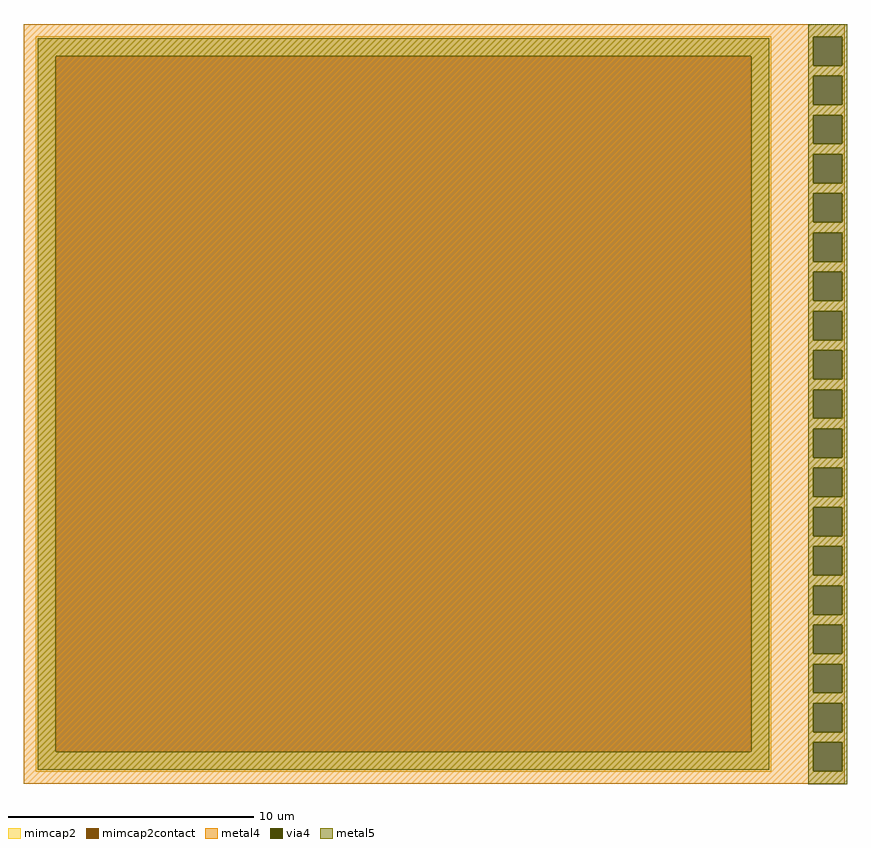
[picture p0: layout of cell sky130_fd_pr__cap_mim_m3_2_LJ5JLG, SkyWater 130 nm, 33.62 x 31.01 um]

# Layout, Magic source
magic
tech sky130A
magscale 1 2
<< metal4 >>
rect -3351 2998 3351 3100
rect -3351 2762 3095 2998
rect 3331 2762 3351 2998
rect -3351 2678 3351 2762
rect -3351 2442 3095 2678
rect 3331 2442 3351 2678
rect -3351 2358 3351 2442
rect -3351 2122 3095 2358
rect 3331 2122 3351 2358
rect -3351 2038 3351 2122
rect -3351 1802 3095 2038
rect 3331 1802 3351 2038
rect -3351 1718 3351 1802
rect -3351 1482 3095 1718
rect 3331 1482 3351 1718
rect -3351 1398 3351 1482
rect -3351 1162 3095 1398
rect 3331 1162 3351 1398
rect -3351 1078 3351 1162
rect -3351 842 3095 1078
rect 3331 842 3351 1078
rect -3351 758 3351 842
rect -3351 522 3095 758
rect 3331 522 3351 758
rect -3351 438 3351 522
rect -3351 202 3095 438
rect 3331 202 3351 438
rect -3351 118 3351 202
rect -3351 -118 3095 118
rect 3331 -118 3351 118
rect -3351 -202 3351 -118
rect -3351 -438 3095 -202
rect 3331 -438 3351 -202
rect -3351 -522 3351 -438
rect -3351 -758 3095 -522
rect 3331 -758 3351 -522
rect -3351 -842 3351 -758
rect -3351 -1078 3095 -842
rect 3331 -1078 3351 -842
rect -3351 -1162 3351 -1078
rect -3351 -1398 3095 -1162
rect 3331 -1398 3351 -1162
rect -3351 -1482 3351 -1398
rect -3351 -1718 3095 -1482
rect 3331 -1718 3351 -1482
rect -3351 -1802 3351 -1718
rect -3351 -2038 3095 -1802
rect 3331 -2038 3351 -1802
rect -3351 -2122 3351 -2038
rect -3351 -2358 3095 -2122
rect 3331 -2358 3351 -2122
rect -3351 -2442 3351 -2358
rect -3351 -2678 3095 -2442
rect 3331 -2678 3351 -2442
rect -3351 -2762 3351 -2678
rect -3351 -2998 3095 -2762
rect 3331 -2998 3351 -2762
rect -3351 -3100 3351 -2998
<< via4 >>
rect 3095 2762 3331 2998
rect 3095 2442 3331 2678
rect 3095 2122 3331 2358
rect 3095 1802 3331 2038
rect 3095 1482 3331 1718
rect 3095 1162 3331 1398
rect 3095 842 3331 1078
rect 3095 522 3331 758
rect 3095 202 3331 438
rect 3095 -118 3331 118
rect 3095 -438 3331 -202
rect 3095 -758 3331 -522
rect 3095 -1078 3331 -842
rect 3095 -1398 3331 -1162
rect 3095 -1718 3331 -1482
rect 3095 -2038 3331 -1802
rect 3095 -2358 3331 -2122
rect 3095 -2678 3331 -2442
rect 3095 -2998 3331 -2762
<< mimcap2 >>
rect -3251 2838 2749 3000
rect -3251 -2838 -3089 2838
rect 2587 -2838 2749 2838
rect -3251 -3000 2749 -2838
<< mimcap2contact >>
rect -3089 -2838 2587 2838
<< metal5 >>
rect 3053 2998 3373 3101
rect -3235 2838 2733 2984
rect -3235 -2838 -3089 2838
rect 2587 -2838 2733 2838
rect -3235 -2984 2733 -2838
rect 3053 2762 3095 2998
rect 3331 2762 3373 2998
rect 3053 2678 3373 2762
rect 3053 2442 3095 2678
rect 3331 2442 3373 2678
rect 3053 2358 3373 2442
rect 3053 2122 3095 2358
rect 3331 2122 3373 2358
rect 3053 2038 3373 2122
rect 3053 1802 3095 2038
rect 3331 1802 3373 2038
rect 3053 1718 3373 1802
rect 3053 1482 3095 1718
rect 3331 1482 3373 1718
rect 3053 1398 3373 1482
rect 3053 1162 3095 1398
rect 3331 1162 3373 1398
rect 3053 1078 3373 1162
rect 3053 842 3095 1078
rect 3331 842 3373 1078
rect 3053 758 3373 842
rect 3053 522 3095 758
rect 3331 522 3373 758
rect 3053 438 3373 522
rect 3053 202 3095 438
rect 3331 202 3373 438
rect 3053 118 3373 202
rect 3053 -118 3095 118
rect 3331 -118 3373 118
rect 3053 -202 3373 -118
rect 3053 -438 3095 -202
rect 3331 -438 3373 -202
rect 3053 -522 3373 -438
rect 3053 -758 3095 -522
rect 3331 -758 3373 -522
rect 3053 -842 3373 -758
rect 3053 -1078 3095 -842
rect 3331 -1078 3373 -842
rect 3053 -1162 3373 -1078
rect 3053 -1398 3095 -1162
rect 3331 -1398 3373 -1162
rect 3053 -1482 3373 -1398
rect 3053 -1718 3095 -1482
rect 3331 -1718 3373 -1482
rect 3053 -1802 3373 -1718
rect 3053 -2038 3095 -1802
rect 3331 -2038 3373 -1802
rect 3053 -2122 3373 -2038
rect 3053 -2358 3095 -2122
rect 3331 -2358 3373 -2122
rect 3053 -2442 3373 -2358
rect 3053 -2678 3095 -2442
rect 3331 -2678 3373 -2442
rect 3053 -2762 3373 -2678
rect 3053 -2998 3095 -2762
rect 3331 -2998 3373 -2762
rect 3053 -3101 3373 -2998
<< properties >>
string FIXED_BBOX -3351 -3100 2849 3100
<< end >>
